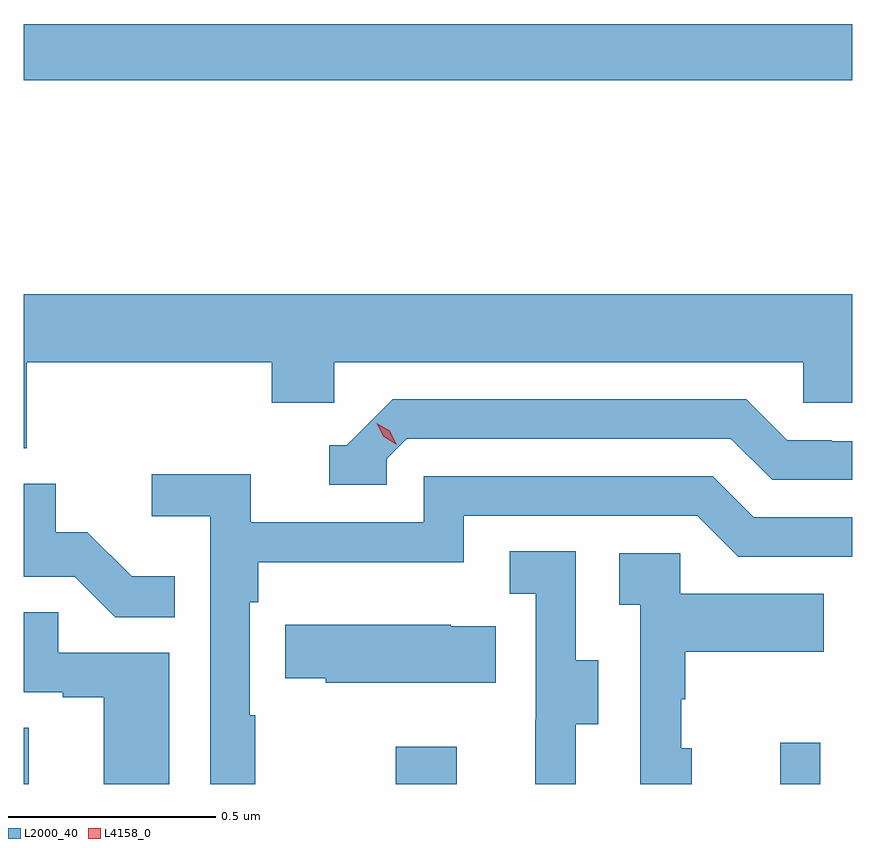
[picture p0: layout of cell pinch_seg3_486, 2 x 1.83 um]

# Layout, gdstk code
import gdstk
lib = gdstk.Library(unit=1e-6, precision=1e-09)
def R(c, l, rs):  # rectangles x0, y0, x1, y1
    for r in rs: c.add(gdstk.rectangle(r[:2], r[2:], *l))
def P(c, l, *ps):  # polygons
    for p in ps: c.add(gdstk.Polygon(p, *l))
L2000_40 = (2000, 40)
L4158_0 = (4158, 0)

pinch_seg3_486 = lib.new_cell('pinch_seg3_486')
R(pinch_seg3_486, L2000_40, [(935.712,667.93,935.725,668.066), (936.61,667.93,936.757,668.02), (937.538,667.93,937.635,668.029), (935.712,669.628,937.712,669.764)])
P(pinch_seg3_486, L2000_40, [(935.72,668.948),(936.311,668.948),(936.311,668.85),(936.462,668.85),(936.462,668.948),(937.593,668.948),(937.593,668.85),(937.712,668.85),(937.712,669.112),(935.712,669.112),(935.712,668.74),(935.72,668.74)],
  [(936.588,668.715),(936.636,668.763),(937.419,668.763),(937.518,668.664),(937.712,668.664),(937.712,668.757),(937.662,668.757),(937.662,668.76),(937.555,668.76),(937.456,668.859),(936.603,668.859),(936.492,668.748),(936.449,668.748),(936.449,668.652),(936.588,668.652)],
  [(936.271,668.096),(936.258,668.096),(936.258,668.369),(936.278,668.369),(936.278,668.465),(936.774,668.465),(936.774,668.577),(937.338,668.577),(937.437,668.478),(937.712,668.478),(937.712,668.574),(937.474,668.574),(937.375,668.673),(936.678,668.673),(936.678,668.562),(936.26,668.562),(936.26,668.678),(936.021,668.678),(936.021,668.576),(936.162,668.576),(936.162,667.93),(936.271,667.93)],
  [(936.077,668.431),(935.973,668.431),(935.866,668.538),(935.79,668.538),(935.79,668.655),(935.712,668.655),(935.712,668.43),(935.835,668.43),(935.933,668.332),(936.077,668.332)],
  [(937.045,668.074),(937.099,668.074),(937.099,668.229),(937.044,668.229),(937.044,668.492),(936.885,668.492),(936.885,668.389),(936.948,668.389),(936.948,668.085),(936.947,668.085),(936.947,667.93),(937.045,667.93)],
  [(937.324,668.016),(937.299,668.016),(937.299,668.135),(937.309,668.135),(937.309,668.249),(937.643,668.249),(937.643,668.389),(937.296,668.389),(937.296,668.487),(937.149,668.487),(937.149,668.363),(937.2,668.363),(937.2,667.93),(937.324,667.93)],
  [(936.064,668.247),(935.795,668.247),(935.795,668.345),(935.712,668.345),(935.712,668.151),(935.807,668.151),(935.807,668.139),(935.906,668.139),(935.906,667.93),(936.064,667.93)],
  [(936.851,668.311),(936.743,668.311),(936.743,668.314),(936.343,668.314),(936.343,668.185),(936.441,668.185),(936.441,668.174),(936.851,668.174)])
P(pinch_seg3_486, L4158_0, [(936.612,668.749),(936.581,668.768),(936.564,668.8),(936.564,668.8),(936.564,668.8),(936.595,668.782),(936.612,668.749),(936.612,668.749)])

lib.write_gds('pinch_seg3_486.gds')
